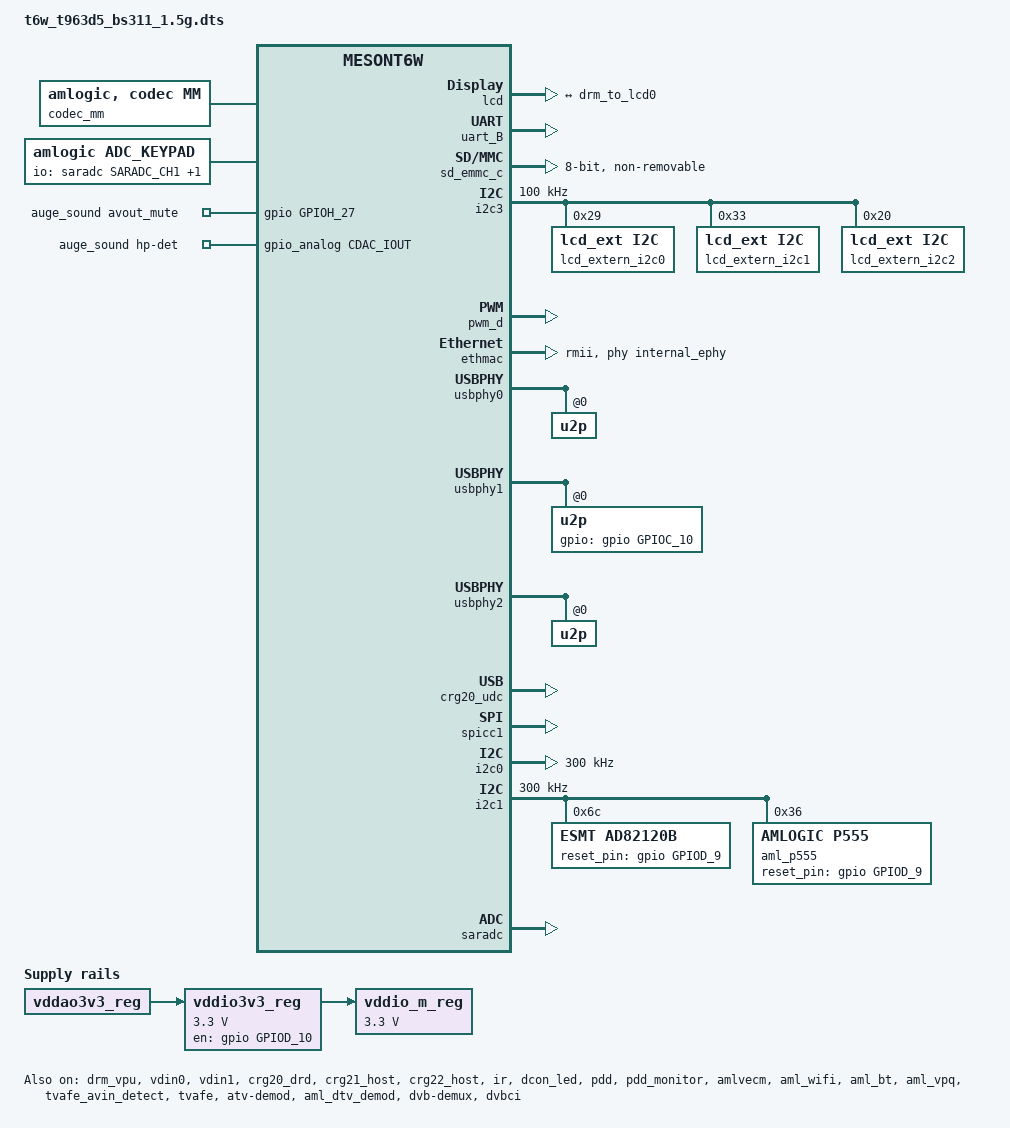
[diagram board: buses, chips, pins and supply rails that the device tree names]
// SPDX-License-Identifier: (GPL-2.0+ OR MIT)
/*
 * Copyright (c) 2019 Amlogic, Inc. All rights reserved.
 */

/dts-v1/;

#include "mesont6w.dtsi"
#include "hdr10plus.dtsi"
#include "mesont6w_drm.dtsi"
#include "firmware_ab.dtsi"
#include "mesont6w-panel.dtsi"
#include "mesont6w_audio.dtsi"
/ {
	amlogic-dt-id = "t6w_t963d5_bs311-1.5g";
	compatible = "t6w_t963d5_bs311-1.5g";
	interrupt-parent = <&gic>;
	#address-cells = <2>;
	#size-cells = <2>;

	aliases {
		serial0 = &uart_B;
		serial1 = &uart_A;
		serial2 = &uart_C;
		tsensor0 = &cpu_tsensor;
		tsensor1 = &top_tsensor;
		spi0 = &spi_nfc;
		spi1 = &spicc0;
		spi2 = &spicc1;
		spi3 = &spicc2;
		spi4 = &spicc3;
		i2c0 = &i2c0;
		i2c1 = &i2c1;
		i2c2 = &i2c2;
		i2c3 = &i2c3;
	};

	memory@0 {
		device_type = "memory";
		linux,usable-memory = <0x0 0x0 0x0 0x60000000>;
	};

	reserved-memory {
		#address-cells = <2>;
		#size-cells = <2>;
		ranges;

		/* global autoconfigured region for contiguous allocations */
		ramdump_bl33z@0 {
			reg = <0x0 0x0 0x0 0x1800000>; /* 0 ~ 24M */
			status = "disabled"; /* disabled as default */
		};

		ramoops@6B00000 {
			compatible = "ramoops";
			reg = <0x0 0x06B00000 0x0 0x00080000>;/* addr set in uboot */
			record-size = <0x30000>;
			console-size = <0x40000>;
			ftrace-size = <0x0>;
			pmsg-size = <0x10000>;
		};

		dmc_reserved:linux,dmc_monitor {
			compatible = "amlogic,dmc_monitor-reserved";
			reg = <0x0 0x0 0x0 0x80000>;
		};

		log_reserved:linux,log {
			compatible = "amlogic,log-reserved";
			reg = <0x0 0x4e00000 0x0 0x10000>;
		};

		bl30log_reserved:linux,bl30log {
			compatible = "amlogic,bl30log-reserved";
			reg = <0x0 0xf702cc00 0x0 0x400>;
		};

		debug_reserved:linux,iotrace {
			compatible = "amlogic, iotrace";
			reg = <0x0 0x04f00000 0x0 0x00100000>;
			io-size = <0x19800>;
			sched-size = <0x2000>;
			irq-size = <0x1000>;
			smc-size = <0x1000>;
			misc-size = <0x1000>;
			iotm-size = <0x3a980>; //240k; v1:20000; v2:15000
		};

		secmon_reserved:linux,secmon {
			compatible = "shared-dma-pool";
			no-map;
			alignment = <0x0 0x00100000>;
			reg = <0x0 0x05000000 0x0 0x01B00000>;
		};

		logo_reserved:linux,meson-fb {
			compatible = "amlogic, meson-fb";
			size = <0x0 0x800000>;
			alignment = <0x0 0x400000>;
			reg = <0x0 0x3f800000 0x0 0x800000>;
		};

		lcd_cma_reserved:linux,lcd-reserved {
			compatible = "amlogic, lcd_rsvd";
			reg = <0x0 0x40000000 0x0 0x00a80000>;
			tcon-size = <0x0 0x00a02840>;
		};

		ion_cma_reserved:linux,ion-dev {
			compatible = "shared-dma-pool";
			reusable;
			size = <0x0 0x0>;
			alignment = <0x0 0x400000>;
			status = "disabled";
		};

		/* secure ion for gpu, advice size is 80M */
		ion_secure_reserved:linux,ion-secure {
			compatible = "amlogic, ion-secure-mem";
			no-map;
			size = <0x0 0x0>;
			alignment = <0x0 0x400000>;
			status = "disabled";
		};

		ion_fb_reserved:linux,ion-fb {
			compatible = "shared-dma-pool";
			reusable;
			size = <0x0 0x0>;
			alignment = <0x0 0x400000>;
			status = "disabled";
		};

		dmaheap_cma_reserved:heap-gfx {
			compatible = "shared-dma-pool";
			reusable;
			/* 1080p TV androidU size 88M */
			size = <0x0 0x5800000>;
			alignment = <0x0 0x400000>;
			alloc-ranges = <0x0 0x00000000 0x0 0x1d400000>;
			status = "okay";
		};

		dmaheap_fb_reserved:heap-fb {
			compatible = "shared-dma-pool";
			reusable;
			/* 1080p TV androidU size 28M */
			size = <0x0 0x1c00000>;
			alignment = <0x0 0x400000>;
			alloc-ranges = <0x0 0x00000000 0x0 0x1d400000>;
			status = "okay";
		};

		/*  vdin0 CMA pool */
		/*vdin0_cma_reserved:linux,vdin0_cma {*/
		/*	compatible = "shared-dma-pool";*/
		/*	reusable;*/
			/* up to 1920x1080 yuv422 8bit and 5 buffers
			 * 1920x1080x2x5 = 20 M
			 */
		/*	size = <0x0 0x01400000>;*/
		/*	alignment = <0x0 0x400000>;*/
		/*};*/
		/*  vdin1 CMA pool */
		vdin1_cma_reserved:linux,vdin1_cma {
			compatible = "shared-dma-pool";
			reusable;
			/* up to 1280x720 yuv420 8bit and 4 buffers */
			size = <0x0 0x00800000>;
			alignment = <0x0 0x400000>;
			alloc-ranges = <0x0 0x00000000 0x0 0x1d400000>;
		};

		codec_mm_cma:linux,codec_mm_cma {
			compatible = "shared-dma-pool";
			reusable;
			/* ion_codec_mm max can alloc size 80M*/
			size = <0x0 0x16800000>;
			alignment = <0x0 0x400000>;
			alloc-ranges = <0x0 0x30000000 0x0 0x30000000>;
			linux,contiguous-region;
		};

		/*di CMA pool */
		di_cma_reserved:linux,di_cma {
			compatible = "shared-dma-pool";
			reusable;
			/* buffer_size = 3621952(yuv422 8bit)
			 *  | 4736064(yuv422 10bit)
			 *  | 4074560(yuv422 10bit full pack mode)
			 * 10x3621952=34.6M(0x23) support 8bit
			 * 10x4736064=45.2M(0x2e) support 12bit
			 * 10x4074560=40M(0x28) support 10bit
			 */
			//size = <0x0 0x1000000>;
			size = <0x0 0x0>;
			//alignment = <0x400000>;
			alloc-ranges = <0x0 0x0 0x0 0x1d400000>;
			status = "okay";
		};

		/* codec shared reserved */
		codec_mm_reserved:linux,codec_mm_reserved {
			compatible = "amlogic, codec-mm-reserved";
			size = <0x0 0x100000>;
			alignment = <0x0 0x100000>;
			//no-map;
			status = "disabled";
		};

		secure_vdec_reserved:linux,secure_vdec_reserved {
			compatible = "amlogic, secure-vdec-reserved";
			no-map;
			size = <0x0 0x1000000>;
			alignment = <0x0 0x100000>;
			alloc-ranges = <0x0 0x00000000 0x0 0x40000000>;
		};

		/* global autoconfigured region for contiguous allocations */
		linux,cma {
			compatible = "shared-dma-pool";
			reusable;
			size = <0x0 0x1000000>;
			alignment = <0x0 0x400000>;
			linux,cma-default;
			alloc-ranges = <0x0 0x00000000 0x0 0x40000000>;
		};
	};

	vddio3v3_reg: fixed@vddio3v3_reg {
		vin-supply = <&vddao3v3_reg>;
		compatible = "regulator-fixed";
		regulator-name = "VDDIO_3V3";
		regulator-min-microvolt = <3300000>;
		regulator-max-microvolt = <3300000>;
		pinctrl-names = "default";
		gpio = <&gpio GPIOD_10 GPIO_ACTIVE_HIGH>;
		startup-delay-us = <7000>;
		enable-active-high;
		regulator-boot-on;
		regulator-always-on;
	};

	vddio_m_reg: fixed@afe3v3_reg {
		vin-supply = <&vddio3v3_reg>;
		compatible = "regulator-fixed";
		regulator-name = "VDDIO_M/VDDIO_C";
		regulator-min-microvolt = <3300000>;
		regulator-max-microvolt = <3300000>;
		regulator-boot-on;
		regulator-always-on;
	};

	codec_mm {
		compatible = "amlogic, codec, mm";
		memory-region = <&codec_mm_cma &codec_mm_reserved &secure_vdec_reserved>;
		dev_name = "codec_mm";
		status = "okay";
		/* secure memory controller para <switch  align_2n> */
		secure_ctrl_para = <1 16>;
		/*
		 * scatter_alloc_mode: the mode of scatter memory allocation
		 * 0: default mode, alloc from system and cma
		 * 1: only alloc from system
		 * 2: only alloc from cma
		 */
		scatter_alloc_mode = <2>;
	};

	video_queue {
		compatible = "amlogic, video_queue";
		dev_name = "videoqueue";
		status = "okay";
	};
	amlvideo2_0 {
		compatible = "amlogic, amlvideo2";
		dev_name = "amlvideo2";
		status = "okay";
		amlvideo2_id = <0>;
		cma_mode = <1>;
	};

	amlvideo2_1 {
		compatible = "amlogic, amlvideo2";
		dev_name = "amlvideo2";
		status = "okay";
		amlvideo2_id = <1>;
		cma_mode = <1>;
	};

	tvafe_avin_detect {
		compatible = "amlogic, t6w_tvafe_avin_detect";
		status = "okay";
		device_mask = <1>;/*bit0:ch1;bit1:ch2*/
		reg = <0x0 0xfe00a000 0x0 0x400>; /* cvbs irq base */
		interrupts = <0 173 1>,
				<0 172 1>;
	};

	tvafe {
		compatible = "amlogic, tvafe-t6w";
		/*memory-region = <&tvafe_cma_reserved>;*/
		status = "okay";
		flag_cma = <1>;/*1:share with codec_mm;0:cma alone*/
		cma_size = <5>;/*MByte*/
		reg = <0x0 0xfe072000 0x0 0x2000/*tvafe reg base*/
			0x0 0xfe008000 0x0 0x2000>; /*ana reg base*/
		reserve-iomap = "true";
		tvafe_id = <0>;
		//pinctrl-names = "default";
		/*!!particular sequence, no more and no less!!!*/
		tvafe_pin_mux = <
				3 /* TVAFE_CVBS_IN2, CVBS_IN0 = 0 */
				1 /* TVAFE_CVBS_IN0, CVBS_IN1 */
				2 /* TVAFE_CVBS_IN1, CVBS_IN2 */
				4 /* TVAFE_CVBS_IN3, CVBS_IN3 */
		>;
		clocks = <&clkc CLKID_CDAC_CLK>;
		clock-names = "vdac_clk_gate";
		cutwindow_val_h = <0 0 0 0 8>; /* level 0~4 */
		cutwindow_val_v = <4 8 14 16 24>;  /* level 0~4 */
		horizontal_dir0 = <148 148 148 148 148>;
		horizontal_dir1 = <148 168 166 160 148>;
		horizontal_stp0 = <0 0 0 0 0>;
		horizontal_stp1 = <0 0 0 0 0>;
		macrovision = <1>;
	};

	vbi {
		compatible = "amlogic, vbi";
		status = "okay";
		interrupts = <0 210 1>;
	};

	multi-dpss {
		memory-region = <&di_cma_reserved>;
	};

	multi-di {
		//status = "disabled";
		/***************************************************
		 * memory: default is 4
		 *	0:use reserved;
		 *	1:use cma;
		 *	2:use cma as reserved
		 *  4:use codec mem
		 ***************************************************/
		flag_cma = <4>;//
		//memory-region = <&di_cma_reserved>;
		/***************************************************
		 * clock-range: <min max>
		 *	default: <334 667>
		 ***************************************************/
		//clock-range = <334 667>;
		/***************************************************
		 * en_4k: t5w support 4k
		 ***************************************************/
		//en_4k = <1>;
		//keep_dec_vf = <2>;
		//po_fmt = <6>;
		/***************************************************
		 * post_nub: default is 11 (T7/T3/SC2/S4 new path)
		 * local 7*4075520 = 28
		 * post 11*5222400 = 56 //??
		 ***************************************************/
		post_nub = <11>;
		/***************************************************
		 * 0:not support
		 * bit 0: for 4k
		 * bit 1: for 1080p
		 ***************************************************/
		//alloc_sct = <1>;
		/***************************************************
		 * hf: default is 0 (T7/T3/SC2/S4 new path)
		 * 0:not enable;
		 * 1: enable
		 ***************************************************/
		hf = <0>;
		//afbce_loss_en = <1>;
		/***************************************************
		 * loss mode for di out (T5w)
		 * 0:not set loss mode for di out;
		 * 1:1:check the loss flag in vf and set for di
		 ***************************************************/
	};/* end of multi-di */

	/* for external keypad */
	adc_keypad {
		compatible = "amlogic, adc_keypad";
		status = "okay";
		key_name = "power", "vol-", "vol+", "ok", "menu",
			   "source", "exit";
		key_num = <7>;
		io-channels = <&saradc SARADC_CH1>, <&saradc SARADC_CH2>;
		io-channel-names = "key-chan-1", "key-chan-2";
		key_chan = <SARADC_CH1 SARADC_CH1 SARADC_CH1 SARADC_CH1 SARADC_CH1
			    SARADC_CH2 SARADC_CH2>;
		key_code = <KEY_POWER KEY_VOLUMEDOWN KEY_VOLUMEUP KEY_ENTER KEY_MENU
			    KEY_FN_F1 KEY_EXIT>;
		key_val = <0 252 468 684 892 252 468>; // Unit: millivolt
		key_tolerance = <70 70 70 70 70 70 70>; // Unit: millivolt
	};

	/* Audio Related start */
	auge_sound {
		compatible = "amlogic, auge-sound-card";
		aml-audio-card,name = "AML-AUGESOUND";

		avout_mute-gpios = <&gpio GPIOH_27 GPIO_ACTIVE_HIGH>;
		av_mute_sleep_time = <900>;
		/* headphone insert det */
		hp-det-gpios = <&gpio_analog CDAC_IOUT GPIO_ACTIVE_HIGH>;

		interrupts = <GIC_SPI 149 IRQ_TYPE_EDGE_RISING>;
		interrupt-names = "audio_exception64";

		aml-audio-card,dai-link@0 {
			format = "dsp_b";
			mclk-fs = <512>;
			//continuous-clock;
			//bitclock-inversion;
			//frame-inversion;
			/* master mode */
			bitclock-master = <&tdma>;
			frame-master = <&tdma>;
			/* slave mode */
			/*
			 * bitclock-master = <&tdmacodec>;
			 * frame-master = <&tdmacodec>;
			 */
			/* suffix-name, sync with android audio hal used for */
			suffix-name = "alsaPORT-pcm";
			tdmacpu: cpu {
				sound-dai = <&tdma>;
				dai-tdm-slot-tx-mask =
							<1 1>;
				dai-tdm-slot-rx-mask =
							<1 1>;
				dai-tdm-slot-num = <2>;
				dai-tdm-slot-width = <16>;
				system-clock-frequency = <256000>;
			};
			tdmacodec: codec {
				sound-dai = <&dummy_codec>;
			};
		};

		aml-audio-card,dai-link@1 {
			format = "i2s";
			mclk-fs = <256>;
			continuous-clock;
			multi_codec_overlay = <1>;
			//bitclock-inversion;
			//frame-inversion;
			/* master mode */
			bitclock-master = <&tdmb>;
			frame-master = <&tdmb>;
			/* slave mode */
			//bitclock-master = <&tdmbcodec>;
			//frame-master = <&tdmbcodec>;
			/* suffix-name, sync with android audio hal used for */
			suffix-name = "alsaPORT-i2s-i2s4hdmirx";
			cpu {
				sound-dai = <&tdmb>;
				dai-tdm-slot-tx-mask = <1 1>;
				dai-tdm-slot-rx-mask = <1 1>;
				dai-tdm-slot-num = <2>;
				dai-tdm-slot-width = <32>;
				system-clock-frequency = <12288000>;
			};
			tdmbcodec: codec {
				prefix-names = "AMP","AMP";
				sound-dai = <&ad82120b &aml_p555 &acodec>;
			};
		};

		aml-audio-card,dai-link@2 {
			format = "i2s";
			mclk-fs = <256>;
			//continuous-clock;
			//bitclock-inversion;
			//frame-inversion;
			/* master mode */
			bitclock-master = <&tdmc>;
			frame-master = <&tdmc>;
			/* slave mode */
			//bitclock-master = <&tdmccodec>;
			//frame-master = <&tdmccodec>;
			/* suffix-name, sync with android audio hal used for */
			suffix-name = "alsaPORT-i2s4parser";
			cpu {
				sound-dai = <&tdmc>;
				dai-tdm-slot-tx-mask = <1 1>;
				dai-tdm-slot-rx-mask = <1 1>;
				dai-tdm-slot-num = <2>;
				dai-tdm-slot-width = <32>;
				system-clock-frequency = <12288000>;
			};
			tdmccodec: codec {
				sound-dai = <&dummy_codec>;
			};
		};

		aml-audio-card,dai-link@3 {
			mclk-fs = <64>;
			/* suffix-name, sync with android audio hal used for */
			suffix-name = "alsaPORT-pdm-builtinmic";
			cpu {
				sound-dai = <&pdma>;
			};
			codec {
				sound-dai = <&dummy_codec>;
			};
		};

		aml-audio-card,dai-link@4 {
			mclk-fs = <128>;
			continuous-clock;
			/* suffix-name, sync with android audio hal used for */
			suffix-name = "alsaPORT-spdif";
			cpu {
				sound-dai = <&spdifa>;
				system-clock-frequency = <6144000>;
			};
			codec {
				sound-dai = <&dummy_codec>;
			};
		};

		aml-audio-card,dai-link@5 {
			mclk-fs = <256>;
			suffix-name = "alsaPORT-tv";
			cpu {
				sound-dai = <&extn>;
				system-clock-frequency = <12288000>;
			};
			codec {
				sound-dai = <&dummy_codec>;
			};
		};

		aml-audio-card,dai-link@6 {
			mclk-fs = <256>;
			continuous-clock;
			suffix-name = "alsaPORT-loopback";
			cpu {
				sound-dai = <&loopbacka>;
				system-clock-frequency = <12288000>;
			};
			codec {
				sound-dai = <&dummy_codec>;
			};
		};

		aml-audio-card,dai-link@7 {
			mclk-fs = <256>;
			suffix-name = "alsaPORT-earc";
			cpu {
				sound-dai = <&earc>;
				system-clock-frequency = <12288000>;
			};
			codec {
				sound-dai = <&dummy_codec>;
			};
		};

		aml-audio-card,dai-link@8 {
			mclk-fs = <256>;
			continuous-clock;
			suffix-name = "alsaPORT-mixer";
			cpu {
				sound-dai = <&mixer>;
				system-clock-frequency = <12288000>;
			};
			codec {
				sound-dai = <&dummy_codec>;
			};
		};

	};
	/* Audio Related end */

	atv-demod {
		compatible = "amlogic, atv-demod";
		status = "okay";
		btsc_sap_mode = <1>;
		interrupts = <0 94 1>;
		pinctrl-names="atvdemod_agc_pins";
		pinctrl-0=<&atvdemod_agc_pins>;
		reg = <0x0 0xfe0be000 0x0 0x2000    // demod reg
			0x0 0xfe000000 0x0 0x2000   // hiu reg
			0x0 0x0 0x0 0x0             // periphs reg
			0x0 0xfe0bc000 0x0 0x2000>; // adec reg
		common_agc = <1>;
	};

	aml_dtv_demod {
		compatible = "amlogic, ddemod-t6w";
		dev_name = "aml_dtv_demod";
		status = "okay";
		diseqc_name = "TMI8037";
		pinctrl-names="if_agc_pins", "diseqc_out", "rf_agc_pins";
		pinctrl-0=<&dtvdemod_if_agc_pins>;
		pinctrl-1=<&diseqc_out>;
		pinctrl-2=<&dtvdemod_rf_agc_pins>;
		//pinctrl-3=<&diseqc_in>;
		lnb_en-gpios = <&gpio GPIOZ_2 GPIO_ACTIVE_HIGH>;
		lnb_sel-gpios = <&gpio GPIOZ_3 GPIO_ACTIVE_HIGH>;
		interrupts = <GIC_SPI 87 IRQ_TYPE_EDGE_RISING>;
		interrupt-names = "demod_isr";
		power-domains = <&pwrdm PDID_T6W_DEMOD>;
		clocks = <&clkc CLKID_DEMOD_32K>;
		clock-names = "demod_32k";
		reg = <0x0 0xfe310000 0x0 0x10000	//dtv demod base
			   0x0 0xfe000000 0x0 0x2000	//hiu reg base
			   0x0 0xff800000 0x0 0x40000	//io_aobus_base
			   0x0 0xfe002000 0x0 0x2000>;	//reset

		spectrum = <1>;
		cma_mem_size = <16>; // MB
	};

	dvb-extern {
		compatible = "amlogic, dvb-extern";
		dev_name = "dvb-extern";
		status = "okay";

		fe_num = <2>;
		fe0_demod = "internal";

		fe1_demod = "dummy";
		fe1_ts = <3>;
		tuner_num = <2>; // tuner number, multi tuner support
		tuner0_name = "r842_tuner";
		tuner0_i2c_adap = <&i2c0>;
		tuner0_i2c_addr = <0xF6>; // 8 bits
		tuner0_xtal = <1>;       // 0: 16MHz, 1: 24MHz
		tuner0_xtal_mode = <0>;  // NO_SHARE_XTAL(0), SLAVE_XTAL_SHARE(3)
		tuner0_xtal_cap = <38>;

		tuner1_name = "rt710_tuner";
		tuner1_i2c_adap = <&i2c0>;
		tuner1_i2c_addr = <0xF4>; // 8 bits
		tuner1_xtal = <0>;       // 0: 16MHz, 1: 24MHz
		tuner1_xtal_mode = <0>;  // NO_SHARE_XTAL(0), SLAVE_XTAL_SHARE(3)
		tuner1_xtal_cap = <30>;
	};

	dvb-demux {
		compatible = "amlogic sc2, dvb-demux"; /* same as sc2 */
		dev_name = "dvb-demux";
		status = "okay";

		reg = <0x0 0xfe000000 0x0 0x480000>;

		dmxdev_num = <0x11>;

		tsn_from = "demod";

		/*single demod setting */
		ts1_sid = <0x21>;
		ts1 = "parallel";
		ts1_control = <0x0>;
		ts1_invert = <0>;

		ts2_sid = <0x22>;
		ts2 = "parallel";
		ts2_control = <0x0>;
		ts2_invert = <0>;

		ts3_sid = <0x7>;

		pinctrl-names = "p_ts1";
		pinctrl-0 = <&dvb_p_ts1_pins>;
	};

	dvbci {
		compatible = "amlogic, dvbci";
		dev_name = "dvbci";
		status = "okay";

		io_type = <4>; /* 0=iobus,1=spi,2=cimax,3=spi-t312 4:T5D,ci bus*/
		addr_ts_mode_multiplex = <0>; /*AY301 not multi ts and addr,default 1*/
		le_enable_level = <0>; /*LE pin enable level*/
		/*gpio pin define*/
		pinctrl-names= "ci_ts_pins", "ci_addr_pins";
		pinctrl-0=<&dvb_ci_bus_pins_all &ci_ts_pins &ci_ts_clk_pins>;
		pinctrl-1=<&dvb_ci_bus_pins &ci_addr_pins &ci_gpio_pins>;
		reg = <0x0 0xFE080000 0x0 0x1FFF>;
		vcc5v-supply = <&cam_5v_reg>;
		/*irq define, t5m not use these irq*/
		//interrupts = <0 186 1
		//		0 187 1>;
		//interrupt-names = "irq_cmp",
		//			"irq_timeout";
		dvbci_io {
			/*gpio define  GPIOM_27 GPIOM_28 GPIOM_30*/
			cd_pin1 = <&gpio       GPIOM_27       GPIO_ACTIVE_HIGH>;
			//pwr_pin = <&gpio       GPIOM_28       GPIO_ACTIVE_HIGH>;
			le_pin = <&gpio       GPIOM_29       GPIO_ACTIVE_HIGH>;
		};
	};
}; /* end of / */

&drm_vpu {
	status = "okay";
	logo_addr = "0x3f800000";

	connectors_dev: port@1 {
		drm_to_lcd0: endpoint@1 {
			reg = <1>;
			remote-endpoint = <&lcd0_to_drm>;
		};
	};
};

&lcd {
	status = "okay";
	ports {
		port {
			#address-cells = <1>;
			#size-cells = <0>;
			lcd0_to_drm: endpoint@0 {
				reg = <0>;
				remote-endpoint = <&drm_to_lcd0>;
			};
		};
	};
};

&uart_B {
	status = "okay";
};

/*if you want to use vdin just modify status to "ok"*/
&vdin0 {
	/*memory-region = <&vdin0_cma_reserved>;*/
	status = "okay";
	/*MByte, if 10bit disable: 64M(YUV422),
	 *if 10bit enable: 64*1.5 = 96M(YUV422)
	 *if support 4K2K-YUV444-10bit-WR:3840*2160*4*4 ~= 128M
	 *if support 4K2K-YUV422-10bit-wr:3840*2160*3*4 ~= 96M
	 *if support 4K2K-YUV422-8BIT-WR:3840*2160*2*4 ~= 64M
	 *if support 1080p-YUV422-8BIT-WR:1920*1080*2*4 ~= 16M
	 * onebuffer:
	 * worst case:(4096*2160*3 + 2M(afbce issue)) = 27.5M
	 * dw:960x540x3 = 1.5M
	 * total size:(27.5+1.5)x buffernumber
	 */
	cma_size = <330>;
	frame_buff_num = <10>;
};

&vdin1 {
	memory-region = <&vdin1_cma_reserved>;
	status = "okay";
};

&sd_emmc_c {
	status = "okay";
	run-low-mem;
	pinctrl-0 = <&emmc_pins>, <&emmc_ds_pins>;
	pinctrl-1 = <&emmc_clk_gate_pins>;
	pinctrl-names = "default", "clk-gate";

	bus-width = <8>;
	cap-sd-highspeed;
	cap-mmc-highspeed;
	//mmc-ddr-1_8v;
	mmc-hs200-1_8v;
	mmc-hs400-1_8v;
	max-frequency = <200000000>;
	non-removable;
	disable-wp;
//	amlogic,dram-access-quirk;

//	mmc-pwrseq = <&emmc_pwrseq>;
//	vmmc-supply = <&vddao_3v3>;
//	vqmmc-supply = <&vddao_1v8>;
};

&periphs_pinctrl {
	/*backlight*/
	bl_pwm_vs_on_pins:bl_pwm_vs_on_pin {
		mux {
			groups = "pwm_vs_h12";
			function = "pwm_vs";
		};
	};
	bl_pwm_off_pins:bl_pwm_off_pin {
		mux {
			groups = "GPIOH_12";
			function = "gpio_periphs";
			output-low;
		};
	};
	bcon_up_pins:bcon_up_pin {
		mux {
			groups = "bcon_0",
				"bcon_1",
				"bcon_2",
				"bcon_3",
				"bcon_4",
				"bcon_5",
				"bcon_6",
				"bcon_7",
				/*"bcon_8", for BL_EN*/
				"bcon_9",
				"bcon_10",
				"bcon_11";
			function = "bcon";
			bias-pull-up;
		};
	};
	bcon_dn_pins:bcon_dn_pin {
		mux {
			groups = "bcon_0",
				"bcon_1",
				"bcon_2",
				"bcon_3",
				"bcon_4",
				"bcon_5",
				"bcon_6",
				"bcon_7",
				/*"bcon_8", for BL_EN*/
				"bcon_9",
				"bcon_10",
				"bcon_11";
			function = "bcon";
			bias-pull-down;
		};
	};
};

&i2c3 {
	status = "okay";
	clock-frequency = <100000>;
	pinctrl-names="default";
	pinctrl-0=<&i2c3_pins3>;

	lcd_extern_i2c0: lcd_extern_i2c@29 {
		compatible = "lcd_ext, i2c";
		dev_name = "i2c_HV650LS";
		reg = <0x29>;
		status = "okay";
	};

	lcd_extern_i2c1: lcd_extern_i2c@33 {
		compatible = "lcd_ext, i2c";
		dev_name = "i2c_CS602";
		reg = <0x33>;
		status = "okay";
	};

	lcd_extern_i2c2: lcd_extern_i2c@20 {
		compatible = "lcd_ext, i2c";
		dev_name = "i2c_CS901";
		reg = <0x20>;
		status = "okay";
	};
};

&pwm_d {
	status = "okay";
};

&ethmac {
	status = "okay";
	phy-handle = <&internal_ephy>;
	phy-mode = "rmii";
	amlogic,wol-enable;
};

&usbphy0 {
	status = "okay";
	u2p@0 {
		status = "okay";
		port-speed = <0x0>; /* 0: HS mode. 1: HSP mode */
		/* clk src mux.
		 * [0]: HS: normal comb clk. HSP: normal comb clk + 48m soc-digital clk.
		 * [1~3]: 48m clk src selector for HSP mode:
		 * phyclk/soc-digital/soc-analog.
		 * For option 2&3, the clk cfg should be also modified.
		 */
		clk-mux = <0x0>;
		/* 48m soc-digital cfg. */
		assigned-clocks = <&clkc CLKID_USB2_48M_CLK>;
		assigned-clock-parents = <&clkc CLKID_USB2_48M_PRE>;
		/* 48m soc-analog cfg. */
		//assigned-clocks = <&clkc CLKID_USB2_48M_CLK>;
		//assigned-clock-rates = <48000000>;
		controller-type = <1>; /* 0~3: normal, host, device, otg */
	};
};

&usbphy1 {
	status = "okay";
	u2p@0 {
		status = "okay";
		gpio-vbus-power = "GPIOC_10";
		gpios = <&gpio GPIOC_10 GPIO_ACTIVE_HIGH>;
	};
};

&usbphy2 {
	status = "okay";
	u2p@0 {
		status = "okay";
		/* Set portspeed to 1 & cfg clks to enable HSP mode. */
		port-speed = <0x0>; /* 0: HS mode. 1: HSP mode */
		/* clk src mux.
		 * [0]: HS: normal comb clk. HSP: normal comb clk + 48m soc-digital clk.
		 * [1~3]: 48m clk src selector for HSP mode:
		 * phyclk/soc-digital/soc-analog.
		 * For option 2&3, the clk cfg should be also modified.
		 */
		clk-mux = <0x0>;
		/* 48m soc-digital cfg. */
		assigned-clocks = <&clkc CLKID_USB2_48M_CLK>;
		assigned-clock-parents = <&clkc CLKID_USB2_48M_PRE>;
		/* 48m soc-analog cfg. */
		//assigned-clocks = <&clkc CLKID_USB2_48M_CLK>;
		//assigned-clock-rates = <48000000>;
	};
};

&crg20_drd{
	status = "okay";
};

&crg20_udc{
	status = "okay";
};

&crg21_host{
	status = "okay";
};

&crg22_host{
	status = "okay";
};

&spicc0 {	//for TCON
	status = "disabled";
	pinctrl-names = "default";
	pinctrl-0 = <&spicc0_pins_h>;
};

&spicc1 {	//for UWB/LocalDimm
	status = "okay";
	pinctrl-names = "spi_pinmux"; //Compatible with BCON
	pinctrl-0 = <&spicc1_pins_h>;
};

&spicc2 {	//for UWB/LocalDimm
	status = "disabled";
	pinctrl-names = "default";
	pinctrl-0 = <&spicc2_pins_m>;
};

&ir {
	status = "okay";
	pinctrl-names = "default";
	pinctrl-0 = <&remote_pins>;
};

&dcon_led {
	status = "okay";
	led_number = <2>;
	pinctrl-names = "default";
	pinctrl-0 = <&dcon_led_pins1>;
};

&i2c0 {
	status = "okay";
	clock-frequency = <300000>;
	pinctrl-names="default";
	pinctrl-0=<&i2c0_pins1>;
};

&i2c1 {
	status = "okay";
	pinctrl-names = "default";
	pinctrl-0 = <&i2c1_pins1>;
	clock-frequency = <300000>;
	ad82120b: ad82120b@6c {
		compatible = "ESMT,ad82120b";
		#sound-dai-cells = <0>;
		reset_pin-gpios = <&gpio GPIOD_9 GPIO_ACTIVE_HIGH>;
		reg = <0x6c>;
		status = "okay";
	};
	aml_p555: aml_p555@36 {
		compatible = "AMLOGIC,p555";
		#sound-dai-cells = <0>;
		reset_pin = <&gpio GPIOD_9 GPIO_ACTIVE_HIGH>;
		reg = <0x36>;
		status = "okay";
	};
};

&saradc {
	status = "okay";
};

&pdd {
	status = "okay";
};

&pdd_monitor {
	status = "okay";
};

&vdac {
	cdac_disable = <1>;
};

&amlvecm {
	compatible = "amlogic, vecm-t6w";
	dev_name = "aml_vecm";
	status = "okay";
	gamma_en = <1>;/*1:enable ;0:disable*/
	wb_en = <1>;/*1:enable ;0:disable*/
	cm_en = <1>;/*1:enable ;0:disable*/
	wb_sel = <0>;/*1:mtx ;0:gainoff*/
	osd_pic_en = <1>;/*1:enable osd picture setting;0:disable*/
	vlock_en = <1>;/*1:enable;0:disable*/
	vlock_mode = <0x8>;
	vrr_priority = <1>;/*1:game mode vrr always on;0:vrr on depend on vrr signal*/
	/*vlock work mode:
	 *bit0:auto ENC
	 *bit1:auto PLL
	 *bit2:manual PLL
	 *bit3:manual ENC
	 *bit4:manual soft ENC
	 *bit5:manual MIX PLL ENC
	 */
	vlock_pll_m_limit = <1>;
	vlock_line_limit = <2>;
	interrupts = <0 207 1>;
	interrupt-names = "lc_curve";
};

&uart_A {
	status = "disabled";
	uart-has-rtscts;
};

&aml_wifi{
	status = "okay";
	power_on-gpios = <&gpio   GPIOD_11  GPIO_ACTIVE_HIGH>;
	disable-wifi-32k;
};

&aml_bt {
	status = "okay";
	bt_en-gpios = <&gpio  GPIOD_11  GPIO_ACTIVE_HIGH>;
	btwakeup-gpios = <&gpio  GPIOD_8  GPIO_ACTIVE_HIGH>;
	hostwake-gpios = <&gpio  GPIOD_12  GPIO_ACTIVE_HIGH>;
	power_down_disable = <1>;
};

&tdmb {
	pinctrl-names = "tdm_pins","tdmout_a_gpio";
	pinctrl-0 = <
			&tdmb_pin
			&tdm_d0_pins
			&tdmb_clk_pins>;
	pinctrl-1 = <&tdmout_b_gpio>;
};

&pdma {
	pinctrl-names = "pdm_pins";
	pinctrl-0 = <&pdmin>;
};

&spdifa {
	pinctrl-names = "spdif_pins",
		"spdif_pins_mute";
	pinctrl-0 = <&spdifout_a>;
	pinctrl-1 = <&spdifout_a_mute>;
};

&ambilight {
	status = "disabled";
	zone_h_v = <32 20>;
};

&aml_vpq {
	status = "okay";
};

&chosen {
	bootargs = "usbcore.autosuspend=-1 swiotlb=noforce dm_mod.reserved_bio_based_ios=8 rodata=off";
};
